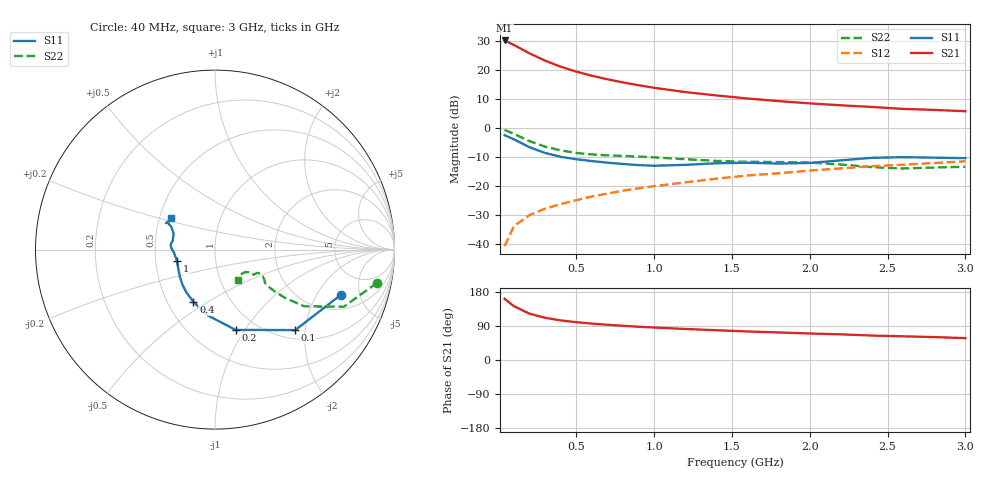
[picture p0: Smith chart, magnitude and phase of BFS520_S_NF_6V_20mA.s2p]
! Filename:  BFS520K.S2P  Version:  4.0
! Philips part #: BFS520  Date: Jun 1994
! Bias condition: Vce=6V, Ic=20mA
#  MHz  S  MA  R  50
! Freq  S11  S21  S12  S22  !GUM [dB]
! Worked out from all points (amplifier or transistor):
!   21 points, 40 MHz to 3 GHz, reference 50 ohm
!   highest |S21| = 30.2 dB at 40 MHz (marker M1)
!   |S21| within 3 dB of that: start of sweep to 149.5 MHz
!   unconditionally stable (mu >= 1): 697.8 MHz to end of sweep
!   at 300 MHz: K = 0.77, MSG = 25.6 dB, |S12| = -28.0 dB
!   at 1 GHz: K = 1.07, MAG = 15.4 dB, |S12| = -20.2 dB
!   at 3 GHz: K = 1.05, MAG = 7.2 dB, |S12| = -11.6 dB
!   lowest NFmin = 1.45 dB at 500 MHz
!   S11 on the Smith chart (normalised r, x): 40 MHz: 2.92, -3.31; 100 MHz: 1.18, -1.77; 200 MHz: 0.80, -0.91; 400 MHz: 0.67, -0.43; 1 GHz: 0.65, -0.09; 3 GHz: 0.58, +0.22
40  0.746 -19.7  32.38 161.4  0.009 80.3  0.922 -11.6
100  0.633 -45.1  27.05 142.0  0.02 69.5  0.785 -23.9
200  0.462 -75.6  19.37 122.2  0.031 64.2  0.588 -32.5
300  0.368 -96.6  14.48 111.4  0.04 63.8  0.473 -34.6
400  0.315 -112.4  11.4 104.5  0.048 65.4  0.407 -35.0
500  0.287 -123.8  9.381 99.8  0.056 66.8  0.368 -34.8
600  0.266 -133.1  7.959 96.1  0.065 68.5  0.347 -34.3
700  0.25 -140.8  6.912 93.0  0.073 69.7  0.334 -33.6
800  0.237 -148.0  6.096 90.3  0.082 70.6  0.327 -32.3
900  0.227 -155.6  5.456 87.8  0.09 71.2  0.318 -31.0
1000  0.221 -162.9  4.924 85.7  0.098 71.6  0.309 -29.6
1200  0.229 -175.5  4.154 81.9  0.114 72.2  0.287 -27.8
1400  0.244 177.8  3.629 78.6  0.132 72.8  0.268 -28.9
1600  0.249 173.6  3.215 75.3  0.15 72.3  0.259 -32.3
1800  0.241 168.2  2.897 72.7  0.164 72.4  0.256 -33.3
2000  0.247 158.9  2.647 69.9  0.182 72.1  0.251 -32.7
2200  0.274 152.5  2.453 67.7  0.199 72.1  0.232 -32.8
2400  0.303 150.4  2.295 64.5  0.217 71.6  0.209 -37.0
2600  0.311 151.6  2.124 62.5  0.23 70.6  0.198 -44.8
2800  0.305 150.1  2.04 60.5  0.246 70.7  0.206 -50.3
3000  0.299 144.4  1.937 57.7  0.264 69.9  0.212 -51.9
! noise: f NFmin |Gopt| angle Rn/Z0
500  1.45  0.154  28  0.25
900  1.6  0.13  63  0.25
2000  2.2  0.228  -175  0.18
